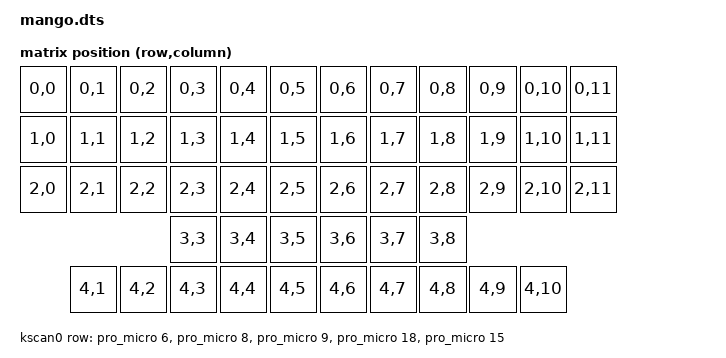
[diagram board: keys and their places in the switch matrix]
/dts-v1/;

#include <nordic/nrf52840_qiaa.dtsi>
#include <dt-bindings/zmk/matrix_transform.h>

/ {
	chosen {
		zmk,kscan = &kscan0;
		zmk,matrix_transform = &default_transform;
		zephyr,code-partition = &code_partition;
		zephyr,sram = &sram0;
		zephyr,flash = &flash0;
		zephyr,display = &lcd;
		zmk,battery = &vbatt;
		zephyr,console = &cdc_acm_uart;
	};

	ext-power {
		compatible = "zmk,ext-power-generic";
		label = "EXT_POWER";
		control-gpios = <&gpio0 13 GPIO_ACTIVE_HIGH>;
		init-delay-ms = <50>;
	};

	vbatt: vbatt {
		compatible = "zmk,battery-nrf-vddh";
		label = "BATTERY";
	};

/*                                  
*                        _____                                               _____
*                 .-----|     |-----._____                       _____.-----|     |-----.
*      _____.-----|     |_____|     |     |                     |     |     |_____|     |-----._____
*     |     |     |-----|     |-----|_____|                     |_____|-----|     |-----|     |     |  
*     |_____|-----|     |_____|     |     |                     |     |     |_____|     |-----|_____|  
*     |     |     |-----|     |-----|_____|                     |_____|-----|     |-----|     |     |  
*     |_____|-----|     |_____|     |     |                     |     |     |_____|     |-----|_____|  
*     |     |     |-----'   .-'---.=|_____|.-.._           _..-.|_____|=.---'-.   '-----|     |     |
*     !_____!-----'         |     |     | /     /         \     \ |     |     |         '-----!_____!
*                           '-----!_____!/     /           \     \!_____!-----'          
*                                       '--.._/             \_..--'                                                                                                                                                                  
*/

	default_transform: keymap_transform_0 {
		compatible = "zmk,matrix-transform";
		columns = <12>;
		rows = <5>;

//      | SW1  | SW2  | SW3  | SW4  | SW5  | SW6  |   | SW6  | SW5  | SW4  | SW3  | SW2  | SW1  |
//      | SW7  | SW8  | SW9  | SW10 | SW11 | SW11 |   | SW12 | SW11 | SW10 | SW9  | SW8  | SW7  |
//      | SW13 | SW14 | SW15 | SW16 | SW17 | SW18 |   | SW18 | SW17 | SW16 | SW15 | SW14 | SW13 |
//                           | SW19 | SW20 | SW21 |   | SW21 | SW20 | SW19 |
//
//             | SW22 | SW23 | SW24 | SW25 | SW26 |   | SW26 | SW25 | SW24 | SW23 | SW22 |

	    map = <
            RC(0,0) RC(0,1) RC(0,2) RC(0,3) RC(0,4) RC(0,5)  RC(0,6) RC(0,7) RC(0,8) RC(0,9) RC(0,10) RC(0,11)
            RC(1,0) RC(1,1) RC(1,2) RC(1,3) RC(1,4) RC(1,5)  RC(1,6) RC(1,7) RC(1,8) RC(1,9) RC(1,10) RC(1,11)
            RC(2,0) RC(2,1) RC(2,2) RC(2,3) RC(2,4) RC(2,5)  RC(2,6) RC(2,7) RC(2,8) RC(2,9) RC(2,10) RC(2,11)
                                    RC(3,3) RC(3,4) RC(3,5)  RC(3,6) RC(3,7) RC(3,8)

                    RC(4,1) RC(4,2) RC(4,3) RC(4,4) RC(4,5)  RC(4,6) RC(4,7) RC(4,8) RC(4,9) RC(4,10)
		>;
	};

	kscan0: kscan {
		compatible = "zmk,kscan-gpio-matrix";
		label = "KSCAN";

		diode-direction = "col2row";
		row-gpios
			= <&pro_micro 6 (GPIO_ACTIVE_HIGH | GPIO_PULL_DOWN)> // row0 from the schematic file
			, <&pro_micro 8 (GPIO_ACTIVE_HIGH | GPIO_PULL_DOWN)> // row1 from the schematic file
			, <&pro_micro 9 (GPIO_ACTIVE_HIGH | GPIO_PULL_DOWN)> // row2 from the schematic file
			, <&pro_micro 18 (GPIO_ACTIVE_HIGH | GPIO_PULL_DOWN)> // row3 from the schematic file
            , <&pro_micro 15 (GPIO_ACTIVE_HIGH | GPIO_PULL_DOWN)> // row4 from the schematic file
			;
		
	};

	pro_micro: connector {
		compatible = "arduino-pro-micro";
		#gpio-cells = <2>;
		gpio-map-mask = <0xffffffff 0xffffffc0>;
		gpio-map-pass-thru = <0 0x3f>;
		gpio-map
			= <0 0 &gpio0 8 0>		/* D0 */
			, <1 0 &gpio0 6 0>		/* D1 */
			, <2 0 &gpio0 17 0>		/* D2 */
			, <3 0 &gpio0 20 0>		/* D3 */
			, <4 0 &gpio0 22 0>		/* D4/A6 */
			, <5 0 &gpio0 24 0>		/* D5 */
			, <6 0 &gpio1 0 0>		/* D6/A7 */
			, <7 0 &gpio0 11 0>		/* D7 */
			, <8 0 &gpio1 4 0>		/* D8/A8 */
			, <9 0 &gpio1 6 0>		/* D9/A9 */
			, <10 0 &gpio0 9 0>		/* D10/A10 */
			, <16 0 &gpio0 10 0>	/* D16 */
			, <14 0 &gpio1 11 0>	/* D14 */
			, <15 0 &gpio1 13 0>	/* D15 */
			, <18 0 &gpio1 15 0>	/* D18/A0 */
			, <19 0 &gpio0 2 0>	/* D19/A1 */
			, <20 0 &gpio0 29 0>	/* D20/A2 */
			, <21 0 &gpio0 31 0>	/* D21/A3 */
			;
	};

	pro_micro_a: connector_a {
		compatible = "arduino-pro-micro";
		#gpio-cells = <2>;
		gpio-map-mask = <0xffffffff 0xffffffc0>;
		gpio-map-pass-thru = <0 0x3f>;
		gpio-map
			= <0 0 &gpio1 15 0>	/* D18/A0 */
			, <1 0 &gpio0 2 0>	/* D19/A1 */
			, <2 0 &gpio0 29 0>	/* D20/A2 */
			, <3 0 &gpio0 31 0>	/* D21/A3 */
			, <6 0 &gpio0 22 0>	/* D4/A6 */
			, <7 0 &gpio1 0 0>	/* D6/A7 */
			, <8 0 &gpio1 4 0>	/* D8/A8 */
			, <9 0 &gpio1 6 0>	/* D9/A9 */
			, <10 0 &gpio0 9 0>	/* D10/A10 */
			;
	};
};

&adc {
	status = "okay";
};

&gpiote {
	status = "okay";
};

&gpio0 {
	status = "okay";
};

&gpio1 {
	status = "okay";
};

&i2c0 {
	compatible = "nordic,nrf-twi";
	sda-pin = <17>;
	scl-pin = <20>;
};

&uart0 {
	compatible = "nordic,nrf-uarte";
	tx-pin = <6>;
	rx-pin = <8>;
};

&usbd {
	status = "okay";
	compatible = "nordic,nrf-usbd";
	cdc_acm_uart: cdc_acm_uart {
		compatible = "zephyr,cdc-acm-uart";
		label = "CDC_ACM_0";
	};
};

&flash0 {
	/*
	 * For more information, see:
	 * http://docs.zephyrproject.org/latest/devices/dts/flash_partitions.html
	 */
	partitions {
		compatible = "fixed-partitions";
		#address-cells = <1>;
		#size-cells = <1>;

		sd_partition: partition@0 {
			label = "mbr";
			reg = <0x00000000 0x00001000>;
		};
		code_partition: partition@1000 {
			label = "code_partition";
			reg = <0x00001000 0x000d3000>;
		};

		storage_partition: partition@d4000 {
			label = "storage";
			reg = <0x000d4000 0x00020000>;
		};

		boot_partition: partition@f4000 {
			label = "adafruit_boot";
			reg = <0x000f4000 0x0000c000>;
		};
	};
};

pro_micro_d: &pro_micro {};
pro_micro_i2c: &i2c0 {};
pro_micro_spi: &spi0 {};
pro_micro_serial: &uart0 {};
